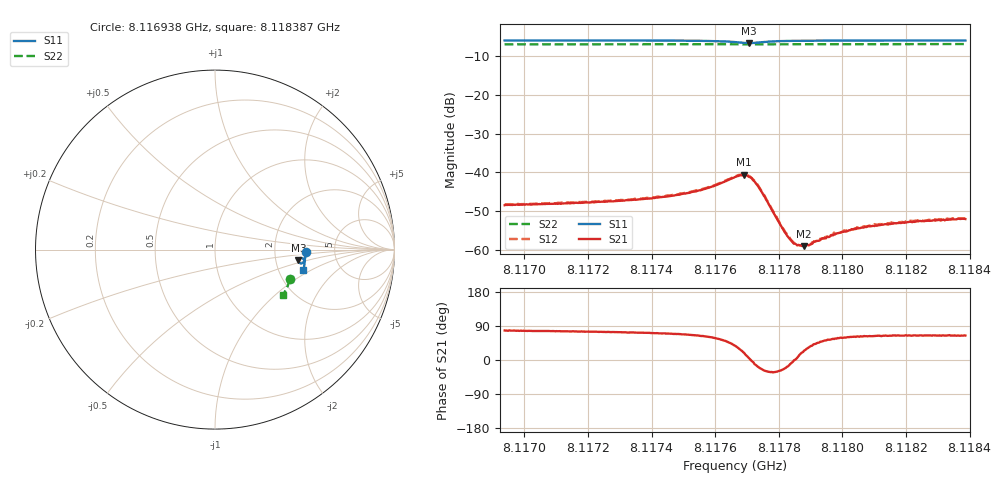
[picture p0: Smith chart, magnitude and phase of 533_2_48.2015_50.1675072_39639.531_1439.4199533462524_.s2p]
#  HZ  S  RI  R  50.00
! Rohde & Schwarz Vector Network Analyzer
! Rohde-Schwarz,ZNB20-2Port,1311601062101988,3.16
! Created: UTC 3/20/2024, 11:59:58 AM
! freq[Hz]  re:S11  im:S11  re:S21  im:S21  re:S12  im:S12  re:S22  im:S22
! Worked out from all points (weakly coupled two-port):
!   401 points, 8.116938 GHz to 8.118387 GHz, reference 50 ohm
!   highest |S21| = -40.56 dB at 8.117692 GHz (marker M1); lowest = -59.1 dB at 8.11788 GHz (marker M2)
!   lowest |S11| = -6.6 dB at 8.117706 GHz (marker M3), VSWR 2.76, Z = 134 - j20.7 ohm
!   |S11| at or under -10 dB: nowhere
!   |S22| runs from -6.9 to -6.8 dB; largest |S21 - S12| = 0.0003
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8.116938e9  0.5066 -0.011  0.00079 0.00368  0.000845 0.00378  0.4203 -0.1644
8.1171807e9  0.5053 -0.0302  0.00101 0.00393  0.00112 0.00398  0.4143 -0.1803
8.1173256e9  0.5039 -0.0422  0.00131 0.00417  0.00135 0.00423  0.4106 -0.1897
8.1174234e9  0.5022 -0.0511  0.00161 0.00447  0.00162 0.00455  0.4078 -0.1961
8.1175031e9  0.5 -0.0592  0.00205 0.00493  0.00212 0.00498  0.4055 -0.2014
8.1175611e9  0.4969 -0.0661  0.00268 0.00535  0.00282 0.00544  0.4037 -0.205
8.1176625e9  0.4769 -0.0765  0.00691 0.00532  0.00705 0.00541  0.3999 -0.2113
8.1176915e9  0.4662 -0.0684  0.00888 0.00299  0.00899 0.00283  0.3986 -0.2127
8.117706e9  0.4645 -0.0601  0.00873 0.000796  0.00899 0.000779  0.3982 -0.213
8.1177205e9  0.4676 -0.0524  0.00782 -0.000848  0.00797 -0.0011  0.398 -0.2134
8.117735e9  0.4737 -0.0474  0.00631 -0.00206  0.00645 -0.00213  0.3979 -0.2144
8.1178147e9  0.4952 -0.0559  0.00165 -0.000752  0.00169 -0.000773  0.3964 -0.2197
8.1178328e9  0.4967 -0.059  0.00138 -0.000336  0.00143 -0.000345  0.3959 -0.2208
8.1178437e9  0.4973 -0.0605  0.00125 -0.000118  0.00127 -0.000145  0.3957 -0.2217
8.1178545e9  0.4978 -0.0623  0.00118 5.42e-05  0.00119 5.78e-05  0.3952 -0.2223
8.1178799e9  0.4983 -0.0659  0.00101 0.000465  0.00105 0.000435  0.3944 -0.224
8.1179053e9  0.4987 -0.0689  0.000943 0.000732  0.000983 0.00077  0.3937 -0.2257
8.1179777e9  0.4986 -0.0768  0.000877 0.00133  0.000874 0.00132  0.3913 -0.2302
8.118032e9  0.4982 -0.0821  0.00088 0.00161  0.000911 0.0016  0.3895 -0.2337
8.1180973e9  0.4974 -0.0878  0.000927 0.00182  0.000982 0.00185  0.3872 -0.2378
8.118148e9  0.4969 -0.0921  0.000945 0.00194  0.000979 0.00197  0.3854 -0.2408
8.1183871e9  0.4929 -0.1111  0.00107 0.00225  0.00111 0.0023  0.377 -0.2551
